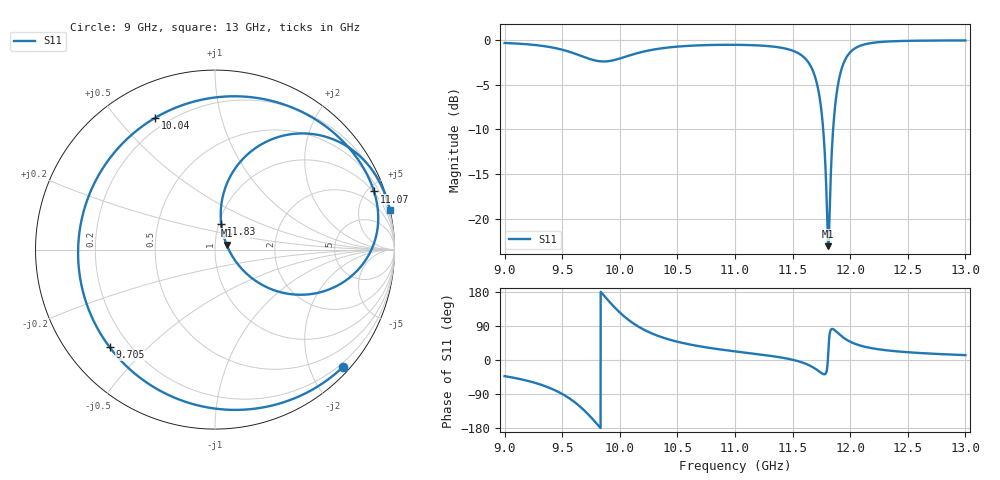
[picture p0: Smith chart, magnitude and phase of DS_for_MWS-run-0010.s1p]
! TOUCHSTONE file generated by CST DESIGN STUDIO
! Date and time: Tue Feb  4 16:47:21 2025
! Project name: C:\Work\MatlabApps\UnitCellOptimizationMatlab\CST\unitcell.cst
! Tree item: Tasks\Sweep1\SPara1\S-Parameters
! Header version: 2024
! Port assignment regex: !\s*Touchstone port\s*([0-9]+)\s*=\s*(CST MWS port|CST DES external port|CST DES block port)\s*(.+)\s* \(\"(.*)\"\)(\s*mode\s*([0-9]+))?.*
! Touchstone port assignment:
! Touchstone port 1 = CST DES external port 1 ("")
# GHz S MA R 50
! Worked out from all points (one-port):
!   4001 points, 9 GHz to 13 GHz, reference 50 ohm
!   lowest |S11| = -23.1 dB at 11.81 GHz (marker M1), VSWR 1.15, Z = 56.9 + j2.87 ohm
!   |S11| at or under -10 dB: 11.77 GHz to 11.85 GHz (86.04 MHz wide, 0.729 % of centre)
!   S11 on the Smith chart (normalised r, x): 9 GHz: 0.13, -2.56; 9.705 GHz: 0.13, -0.39; 10.04 GHz: 0.15, +0.63; 11.07 GHz: 0.94, +5.50; 11.83 GHz: 1.03, +0.30; 13 GHz: 0.03, +8.85
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9  0.9673 -42.6
9.277  0.9402 -61.4
9.5  0.8866 -89.6
9.609  0.8434 -111.5
9.705  0.8003 -137.1
9.78  0.7729 -161.2
9.848  0.7617 175.1
10  0.7912 125.4
10.04  0.8061 114.5
10.138  0.8431 92.5
10.262  0.8809 72.3
10.5  0.9229 48.2
11  0.9447 22.8
11.072  0.9433 20.1
11.5  0.8761 0.6
11.626  0.7695 -11.4
11.716  0.5546 -26.9
11.761  0.3436 -36.4
11.798  0.1147 -25.0
11.81  0.07001 21.0
11.827  0.1455 76.0
11.853  0.3246 81.2
11.885  0.5183 73.4
11.934  0.7198 60.7
12  0.8578 48.2
12.174  0.9644 31.9
12.5  0.9942 20.5
13  0.9993 12.9
